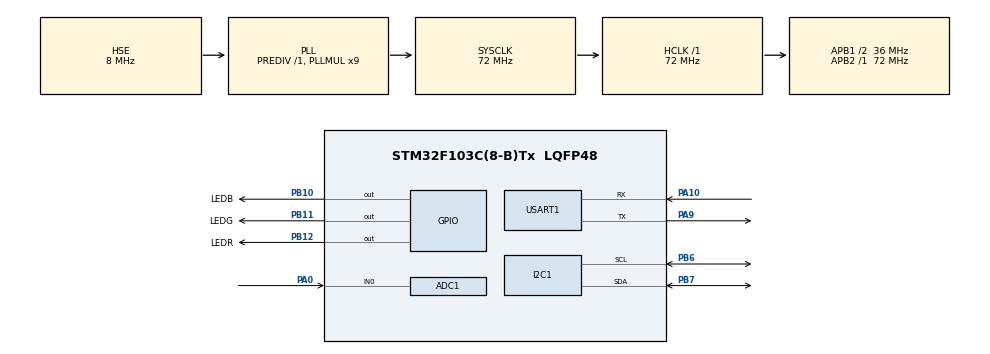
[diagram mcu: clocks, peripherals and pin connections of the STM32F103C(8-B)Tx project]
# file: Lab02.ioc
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ADC1.Channel-0\#ChannelRegularConversion=ADC_CHANNEL_0
ADC1.NbrOfConversionFlag=1
ADC1.Rank-0\#ChannelRegularConversion=1
ADC1.SamplingTime-0\#ChannelRegularConversion=ADC_SAMPLETIME_1CYCLE_5
ADC1.master=1
Mcu.Family=STM32F1
Mcu.Name=STM32F103C(8-B)Tx
Mcu.Package=LQFP48
NVIC.ADC1_2_IRQn=true\:0\:0\:false\:false\:true\:true\:true\:true
NVIC.I2C1_ER_IRQn=true\:0\:0\:false\:false\:true\:true\:true\:true
NVIC.I2C1_EV_IRQn=true\:0\:0\:false\:false\:true\:true\:true\:true
NVIC.PriorityGroup=NVIC_PRIORITYGROUP_4
PA0-WKUP.Signal=ADCx_IN0
PA10.Mode=Asynchronous
PA10.Signal=USART1_RX
PA13.Mode=Serial_Wire
PA13.Signal=SYS_JTMS-SWDIO
PA14.Mode=Serial_Wire
PA14.Signal=SYS_JTCK-SWCLK
PA9.Mode=Asynchronous
PA9.Signal=USART1_TX
PB10.GPIO_Label=LEDB
PB10.Signal=GPIO_Output
PB11.GPIO_Label=LEDG
PB11.Signal=GPIO_Output
PB12.GPIO_Label=LEDR
PB12.Signal=GPIO_Output
PB6.Mode=I2C
PB6.Signal=I2C1_SCL
PB7.Mode=I2C
PB7.Signal=I2C1_SDA
PD0-OSC_IN.Mode=HSE-External-Oscillator
PD0-OSC_IN.Signal=RCC_OSC_IN
PD1-OSC_OUT.Mode=HSE-External-Oscillator
PD1-OSC_OUT.Signal=RCC_OSC_OUT
ProjectManager.HeapSize=0x200
ProjectManager.StackSize=0x400
ProjectManager.TargetToolchain=STM32CubeIDE
RCC.ADCPresc=RCC_ADCPCLK2_DIV6
RCC.AHBFreq_Value=72000000
RCC.APB1CLKDivider=RCC_HCLK_DIV2
RCC.APB1Freq_Value=36000000
RCC.APB1TimFreq_Value=72000000
RCC.APB2Freq_Value=72000000
RCC.APB2TimFreq_Value=72000000
RCC.HCLKFreq_Value=72000000
RCC.PLLMUL=RCC_PLL_MUL9
RCC.PLLSourceVirtual=RCC_PLLSOURCE_HSE
RCC.SYSCLKFreq_VALUE=72000000
RCC.SYSCLKSource=RCC_SYSCLKSOURCE_PLLCLK
RCC.USBFreq_Value=72000000
SH.ADCx_IN0.0=ADC1_IN0,IN0
USART1.VirtualMode=VM_ASYNC
board=custom

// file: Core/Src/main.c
/* USER CODE BEGIN Header */
/**
 ******************************************************************************
 * @file           : main.c
 * @brief          : Main program body
 ******************************************************************************
 * @attention
 *
 * Copyright (c) 2023 STMicroelectronics.
 * All rights reserved.
 *
 * This software is licensed under terms that can be found in the LICENSE file
 * in the root directory of this software component.
 * If no LICENSE file comes with this software, it is provided AS-IS.
 *
 ******************************************************************************
 */
/* USER CODE END Header */
#include "main.h"

/* USER CODE BEGIN Includes */
#include "stdio.h"
#include "INA219.h"
/* USER CODE END Includes */

ADC_HandleTypeDef hadc1;

I2C_HandleTypeDef hi2c1;

UART_HandleTypeDef huart1;

/* USER CODE BEGIN PV */
INA219_t ina;
/* USER CODE END PV */

void SystemClock_Config(void);
static void MX_GPIO_Init(void);
static void MX_ADC1_Init(void);
static void MX_I2C1_Init(void);
static void MX_USART1_UART_Init(void);

/* USER CODE BEGIN 0 */
#define PUTCHAR_PROTOTYPE int __io_putchar(int ch)
/* USER CODE END PFP */
/* USER CODE BEGIN 4 */
/**
 * @brief  Retargets the C library printf function to the USART.
 * @param  None
 * @retval None
 */
PUTCHAR_PROTOTYPE {
	/* Place your implementation of fputc here */
	/* e.g. write a character to the USART1 and Loop until the end of transmission */
	HAL_UART_Transmit(&huart1, (uint8_t*) &ch, 1, 0xFFFF);

	return ch;
}
/* USER CODE END 0 */

int main(void) {

	/* MCU Configuration--------------------------------------------------------*/

	/* Reset of all peripherals, Initializes the Flash interface and the Systick. */
	HAL_Init();

	/* Configure the system clock */
	SystemClock_Config();

	/* Initialize all configured peripherals */
	MX_GPIO_Init();
	MX_ADC1_Init();
	MX_I2C1_Init();
	MX_USART1_UART_Init();
	/* USER CODE BEGIN 2 */
	uint8_t status = 0;
	uint16_t busVolt = 0;
	int16_t Current = 0;
	float shuntVolt = 0;
	float power = 0;
	status = INA219_Init(&ina, &hi2c1, INA219_ADDRESS);
	if (status == 0)
		HAL_GPIO_WritePin(LEDR_GPIO_Port, LEDR_Pin, GPIO_PIN_SET);
	else
		HAL_GPIO_WritePin(LEDR_GPIO_Port, LEDR_Pin, GPIO_PIN_RESET);
	float LM35_Temp = 0;
	uint8_t Buf[20];
	/* USER CODE END 2 */

	/* Infinite loop */
	/* USER CODE BEGIN WHILE */
	while (1) {
		HAL_GPIO_TogglePin(LEDB_GPIO_Port, LEDB_Pin);
//		sprintf("Hello");
		HAL_Delay(500);
		HAL_ADC_Start(&hadc1);
		HAL_ADC_PollForConversion(&hadc1, 500);
		LM35_Temp = HAL_ADC_GetValue(&hadc1) * 3300 / (4096 * 10);
		HAL_ADC_Stop(&hadc1);
		busVolt = INA219_ReadBusVoltage(&ina);
		shuntVolt = INA219_ReadShuntVolage(&ina);
		Current = INA219_ReadCurrent(&ina);
		power = INA219_ReadPower(&ina);
		sprintf(Buf,"Temp: %.2f", LM35_Temp);
		HAL_UART_Transmit(&huart1, Buf, sizeof(Buf), 200);
		HAL_Delay(500);
		sprintf(Buf,"Bus: %d", busVolt);
		HAL_UART_Transmit(&huart1, Buf, sizeof(Buf), 200);
		HAL_Delay(500);
		sprintf(Buf,"Shunt: %.2f", shuntVolt);
		HAL_UART_Transmit(&huart1, Buf, sizeof(Buf), 200);
		HAL_Delay(500);
		sprintf(Buf,"Cur: %d", Current);
		HAL_UART_Transmit(&huart1, Buf, sizeof(Buf), 200);
		HAL_Delay(500);
//		sprintf(Buf,"Power: %.2f", power);
//		HAL_UART_Transmit(&huart1, Buf, sizeof(Buf), 200);
//		HAL_Delay(500);
		/* USER CODE END WHILE */

	}
}

void SystemClock_Config(void) {
	RCC_OscInitTypeDef RCC_OscInitStruct = { 0 };
	RCC_ClkInitTypeDef RCC_ClkInitStruct = { 0 };
	RCC_PeriphCLKInitTypeDef PeriphClkInit = { 0 };

	/** Initializes the RCC Oscillators according to the specified parameters
	 * in the RCC_OscInitTypeDef structure.
	 */
	RCC_OscInitStruct.OscillatorType = RCC_OSCILLATORTYPE_HSE;
	RCC_OscInitStruct.HSEState = RCC_HSE_ON;
	RCC_OscInitStruct.HSEPredivValue = RCC_HSE_PREDIV_DIV1;
	RCC_OscInitStruct.HSIState = RCC_HSI_ON;
	RCC_OscInitStruct.PLL.PLLState = RCC_PLL_ON;
	RCC_OscInitStruct.PLL.PLLSource = RCC_PLLSOURCE_HSE;
	RCC_OscInitStruct.PLL.PLLMUL = RCC_PLL_MUL9;
	if (HAL_RCC_OscConfig(&RCC_OscInitStruct) != HAL_OK) {
		Error_Handler();
	}

	/** Initializes the CPU, AHB and APB buses clocks
	 */
	RCC_ClkInitStruct.ClockType = RCC_CLOCKTYPE_HCLK | RCC_CLOCKTYPE_SYSCLK
			| RCC_CLOCKTYPE_PCLK1 | RCC_CLOCKTYPE_PCLK2;
	RCC_ClkInitStruct.SYSCLKSource = RCC_SYSCLKSOURCE_PLLCLK;
	RCC_ClkInitStruct.AHBCLKDivider = RCC_SYSCLK_DIV1;
	RCC_ClkInitStruct.APB1CLKDivider = RCC_HCLK_DIV2;
	RCC_ClkInitStruct.APB2CLKDivider = RCC_HCLK_DIV1;

	if (HAL_RCC_ClockConfig(&RCC_ClkInitStruct, FLASH_LATENCY_2) != HAL_OK) {
		Error_Handler();
	}
	PeriphClkInit.PeriphClockSelection = RCC_PERIPHCLK_ADC;
	PeriphClkInit.AdcClockSelection = RCC_ADCPCLK2_DIV6;
	if (HAL_RCCEx_PeriphCLKConfig(&PeriphClkInit) != HAL_OK) {
		Error_Handler();
	}
}

static void MX_ADC1_Init(void) {

	ADC_ChannelConfTypeDef sConfig = { 0 };

	/** Common config
	 */
	hadc1.Instance = ADC1;
	hadc1.Init.ScanConvMode = ADC_SCAN_DISABLE;
	hadc1.Init.ContinuousConvMode = DISABLE;
	hadc1.Init.DiscontinuousConvMode = DISABLE;
	hadc1.Init.ExternalTrigConv = ADC_SOFTWARE_START;
	hadc1.Init.DataAlign = ADC_DATAALIGN_RIGHT;
	hadc1.Init.NbrOfConversion = 1;
	if (HAL_ADC_Init(&hadc1) != HAL_OK) {
		Error_Handler();
	}

	/** Configure Regular Channel
	 */
	sConfig.Channel = ADC_CHANNEL_0;
	sConfig.Rank = ADC_REGULAR_RANK_1;
	sConfig.SamplingTime = ADC_SAMPLETIME_1CYCLE_5;
	if (HAL_ADC_ConfigChannel(&hadc1, &sConfig) != HAL_OK) {
		Error_Handler();
	}

}

static void MX_I2C1_Init(void) {

	hi2c1.Instance = I2C1;
	hi2c1.Init.ClockSpeed = 100000;
	hi2c1.Init.DutyCycle = I2C_DUTYCYCLE_2;
	hi2c1.Init.OwnAddress1 = 0;
	hi2c1.Init.AddressingMode = I2C_ADDRESSINGMODE_7BIT;
	hi2c1.Init.DualAddressMode = I2C_DUALADDRESS_DISABLE;
	hi2c1.Init.OwnAddress2 = 0;
	hi2c1.Init.GeneralCallMode = I2C_GENERALCALL_DISABLE;
	hi2c1.Init.NoStretchMode = I2C_NOSTRETCH_DISABLE;
	if (HAL_I2C_Init(&hi2c1) != HAL_OK) {
		Error_Handler();
	}

}

static void MX_USART1_UART_Init(void) {

	huart1.Instance = USART1;
	huart1.Init.BaudRate = 115200;
	huart1.Init.WordLength = UART_WORDLENGTH_8B;
	huart1.Init.StopBits = UART_STOPBITS_1;
	huart1.Init.Parity = UART_PARITY_NONE;
	huart1.Init.Mode = UART_MODE_TX_RX;
	huart1.Init.HwFlowCtl = UART_HWCONTROL_NONE;
	huart1.Init.OverSampling = UART_OVERSAMPLING_16;
	if (HAL_UART_Init(&huart1) != HAL_OK) {
		Error_Handler();
	}

}

static void MX_GPIO_Init(void) {
	GPIO_InitTypeDef GPIO_InitStruct = { 0 };

	/* GPIO Ports Clock Enable */
	__HAL_RCC_GPIOD_CLK_ENABLE();
	__HAL_RCC_GPIOA_CLK_ENABLE();
	__HAL_RCC_GPIOB_CLK_ENABLE();

	/*Configure GPIO pin Output Level */
	HAL_GPIO_WritePin(GPIOB, LEDB_Pin | LEDG_Pin | LEDR_Pin, GPIO_PIN_RESET);

	/*Configure GPIO pins : LEDB_Pin LEDG_Pin LEDR_Pin */
	GPIO_InitStruct.Pin = LEDB_Pin | LEDG_Pin | LEDR_Pin;
	GPIO_InitStruct.Mode = GPIO_MODE_OUTPUT_PP;
	GPIO_InitStruct.Pull = GPIO_NOPULL;
	GPIO_InitStruct.Speed = GPIO_SPEED_FREQ_LOW;
	HAL_GPIO_Init(GPIOB, &GPIO_InitStruct);

}

/* USER CODE BEGIN 4 */
/**
 * @brief  Retargets the C library printf function to the USART.
 * @param  None
 * @retval None
 */

/* USER CODE BEGIN 4 */

/* USER CODE END 4 */

void Error_Handler(void) {
	__disable_irq();
	while (1) {
	}
}
